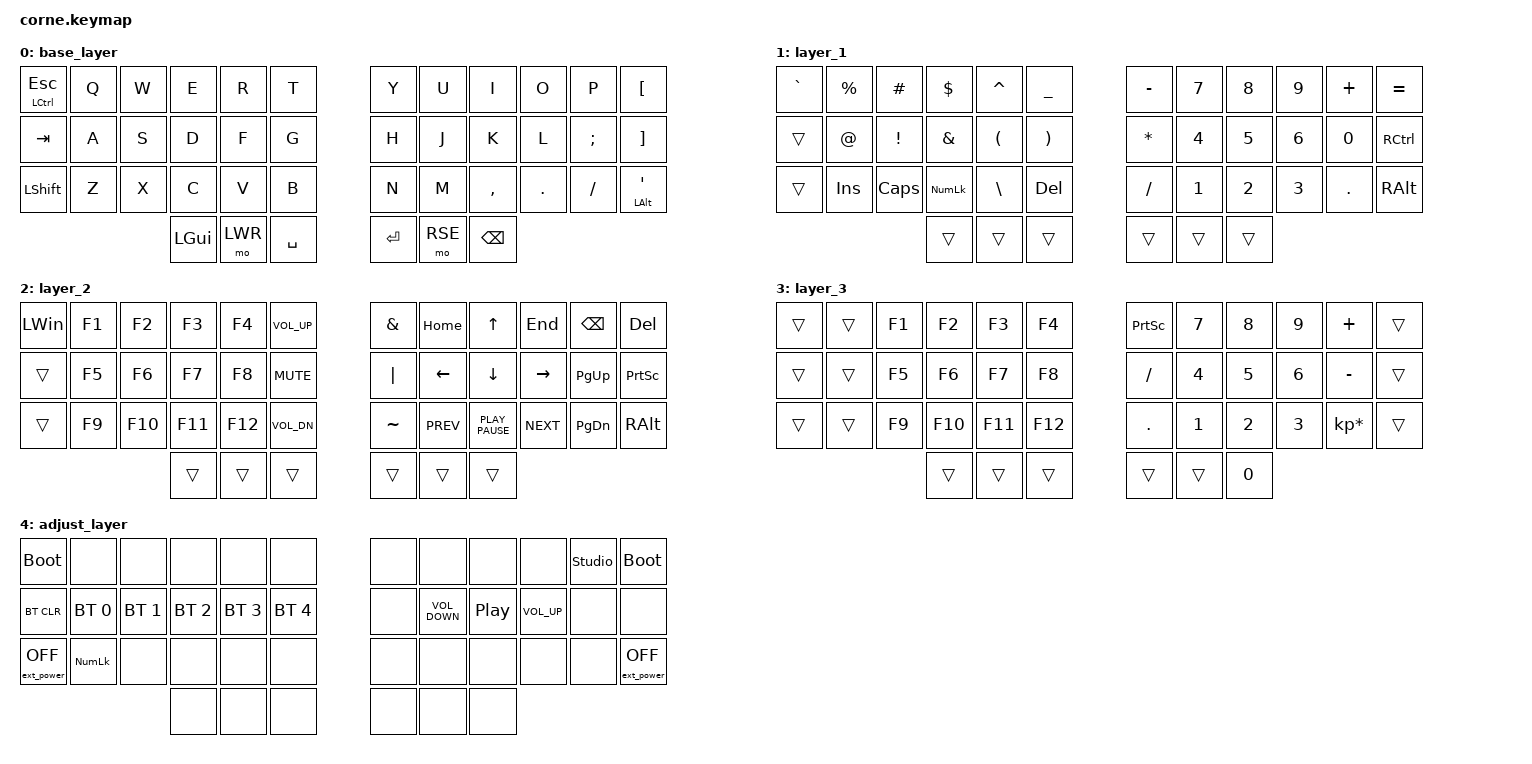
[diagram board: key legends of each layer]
/*
 * Copyright (c) 2020 The ZMK Contributors
 *
 * SPDX-License-Identifier: MIT
 */

#include <behaviors.dtsi>
#include <dt-bindings/zmk/bt.h>
#include <dt-bindings/zmk/ext_power.h>
#include <dt-bindings/zmk/keys.h>

#define DEF 0
#define LWR 1
#define RSE 2
#define FUN 3
#define ADJ 4
#define QUEST 0x003F

&lt { quick_tap_ms = <120>; };

&mt { quick_tap_ms = <120>; };

/ {
    behaviors {
        bhm: backspace_hold_mod {
            compatible = "zmk,behavior-hold-tap";
            #binding-cells = <2>;
            flavor = "balanced";
            tapping-term-ms = <200>;
            quick-tap-ms = <200>;
            require-prior-idle-ms = <125>;
            bindings = <&mo>, <&bspc_repeat>;

            hold-trigger-key-positions = <0>;
            hold-trigger-on-release;
        };

        bspc_repeat: backspace_repeat {
            compatible = "zmk,behavior-mod-morph";
            #binding-cells = <0>;
            bindings = <&kp BACKSPACE>, <&kp BACKSPACE>;

            mods = <(MOD_LSFT|MOD_RSFT)>;
        };
    };
};

/ {
    conditional_layers {
        compatible = "zmk,conditional-layers";

        tri_layer {
            if-layers = <LWR RSE>;
            then-layer = <FUN>;
        };
    };
};

/ {
    combos {
        compatible = "zmk,combos";

        combo_esc {
            timeout-ms = <30>;
            key-positions = <37 38>;
            bindings = <&mo ADJ>;
        };

        combo_dash {
            timeout-ms = <20>; // Adjust if needed
            key-positions = <19 20>; // J + K
            bindings = <&kp MINUS>;
        };

        combo_question {
            timeout-ms = <20>; // Adjust if needed
            key-positions = <18 19>; // H + J
            bindings = <&kp QMARK>;
        };
    };
};

/ {
    macros {
        arrow_macro: arrow_macro {
            compatible = "zmk,behavior-macro";
            #binding-cells = <0>;
            wait-ms = <0>;
            tap-ms = <10>;  // Small delay between characters
            bindings = <&kp EQUAL &kp GT>;  // Types "=" then ">"
        };
    };
};

/ {
    keymap {
        compatible = "zmk,keymap";

        base_layer {
            bindings = <
&mt LCTRL ESCAPE  &kp Q  &kp W  &kp E         &kp R    &kp T        &kp Y      &kp U    &kp I          &kp O    &kp P     &kp LBKT
&kp TAB           &kp A  &kp S  &kp D         &kp F    &kp G        &kp H      &kp J    &kp K          &kp L    &kp SEMI  &kp RIGHT_BRACKET
&kp LSHIFT        &kp Z  &kp X  &kp C         &kp V    &kp B        &kp N      &kp M    &kp COMMA      &kp DOT  &kp FSLH  &mt LEFT_ALT SQT
                                &kp LEFT_GUI  &mo LWR  &kp SPACE    &kp ENTER  &mo RSE  &kp BACKSPACE
            >;
        };

        layer_1 {
            bindings = <
&kp GRAVE  &kp PERCENT  &kp HASH         &kp DOLLAR      &kp CARET             &kp UNDERSCORE           &kp MINUS     &kp N7  &kp N8  &kp N9  &kp PLUS  &kp EQUAL
&trans     &kp AT_SIGN  &kp EXCLAMATION  &kp AMPERSAND   &kp LEFT_PARENTHESIS  &kp RIGHT_PARENTHESIS    &kp ASTERISK  &kp N4  &kp N5  &kp N6  &kp N0    &kp RCTRL
&trans     &kp INS      &kp CAPSLOCK     &kp KP_NUMLOCK  &kp BACKSLASH         &kp DEL                  &kp SLASH     &kp N1  &kp N2  &kp N3  &kp DOT   &kp RIGHT_ALT
                                         &trans          &trans                &trans                   &trans        &trans  &trans
            >;
        };

        layer_2 {
            bindings = <
&kp LEFT_WIN  &kp F1  &kp F2   &kp F3   &kp F4   &kp C_VOLUME_UP    &kp AMPERSAND  &kp HOME        &kp UP_ARROW      &kp END          &kp BACKSPACE  &kp DELETE
&trans        &kp F5  &kp F6   &kp F7   &kp F8   &kp K_MUTE         &kp PIPE       &kp LEFT_ARROW  &kp DOWN_ARROW    &kp RIGHT_ARROW  &kp PG_UP      &kp PSCRN
&trans        &kp F9  &kp F10  &kp F11  &kp F12  &kp C_VOL_DN       &kp TILDE      &kp K_PREV      &kp K_PLAY_PAUSE  &kp K_NEXT       &kp PAGE_DOWN  &kp RIGHT_ALT
                               &trans   &trans   &trans             &trans         &trans          &trans
            >;
        };

        layer_3 {
            bindings = <
&trans  &trans  &kp F1  &kp F2   &kp F3   &kp F4     &kp PSCRN  &kp N7  &kp N8  &kp N9  &kp PLUS         &trans
&trans  &trans  &kp F5  &kp F6   &kp F7   &kp F8     &kp SLASH  &kp N4  &kp N5  &kp N6  &kp MINUS        &trans
&trans  &trans  &kp F9  &kp F10  &kp F11  &kp F12    &kp DOT    &kp N1  &kp N2  &kp N3  &kp KP_MULTIPLY  &trans
                        &trans   &trans   &trans     &trans     &trans  &kp N0
            >;
        };

        adjust_layer {
            bindings = <
&bootloader        &none         &none         &none         &none         &none           &none  &none              &none             &none            &studio_unlock  &bootloader
&bt BT_CLR         &bt BT_SEL 0  &bt BT_SEL 1  &bt BT_SEL 2  &bt BT_SEL 3  &bt BT_SEL 4    &none  &kp C_VOLUME_DOWN  &kp C_PLAY_PAUSE  &kp C_VOLUME_UP  &none           &none
&ext_power EP_OFF  &kp KP_NUM    &none         &none         &none         &none           &none  &none              &none             &none            &none           &ext_power EP_OFF
                                               &none         &none         &none           &none  &none              &none
            >;
        };
    };
};
